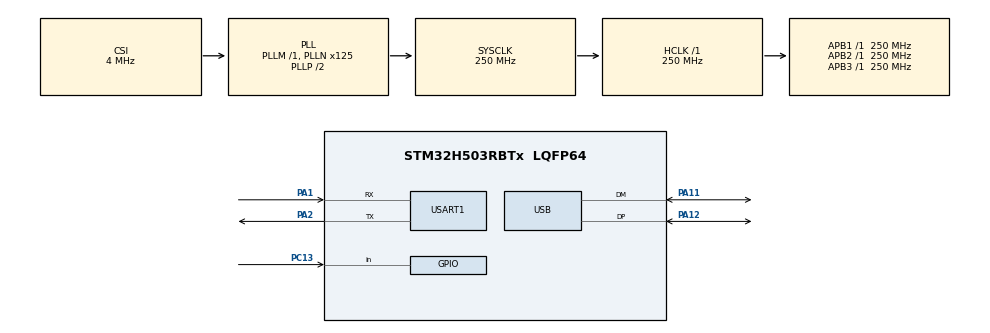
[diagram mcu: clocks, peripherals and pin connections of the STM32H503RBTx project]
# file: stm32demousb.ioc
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BOOTPATH.BootPathName=LEGACY
BOOTPATH.UserSelectedBootPath=LEGACY
Mcu.Family=STM32H5
Mcu.Name=STM32H503RBTx
Mcu.Package=LQFP64
NVIC.PriorityGroup=NVIC_PRIORITYGROUP_4
NVIC.USB_DRD_FS_IRQn=true\:0\:0\:false\:false\:true\:true\:true\:true
PA1.Mode=Asynchronous
PA1.Signal=USART1_RX
PA11.Mode=Device
PA11.Signal=USB_DM
PA12.Mode=Device
PA12.Signal=USB_DP
PA2.Mode=Asynchronous
PA2.Signal=USART1_TX
PC13.Signal=GPIO_Input
ProjectManager.HeapSize=0x600
ProjectManager.StackSize=0x800
ProjectManager.TargetToolchain=CMake
RCC.ADCFreq_Value=250000000
RCC.AHBFreq_Value=250000000
RCC.APB1Freq_Value=250000000
RCC.APB1TimFreq_Value=250000000
RCC.APB2Freq_Value=250000000
RCC.APB2TimFreq_Value=250000000
RCC.APB3Freq_Value=250000000
RCC.CSI_VALUE=4000000
RCC.CortexFreq_Value=250000000
RCC.EPOD_VALUE=4000000
RCC.HCLKFreq_Value=250000000
RCC.HSE_VALUE=25000000
RCC.HSI48_VALUE=48000000
RCC.HSI_VALUE=64000000
RCC.LSE_VALUE=32768
RCC.LSIRC_VALUE=32000
RCC.PLL2FRACN=0
RCC.PLLFRACN=0
RCC.PLLN=125
RCC.SYSCLKFreq_VALUE=250000000
RCC.SYSCLKSource=RCC_SYSCLKSOURCE_PLLCLK
RCC.USBFreq_Value=48000000
RCC.VCOOutputFreq_Value=500000000
USART1.VirtualMode-Asynchronous=VM_ASYNC
USB.VirtualMode=Device_Only
VP_BOOTPATH_VS_BOOTPATH.Mode=BP_Activate
VP_CORTEX_M33_NS_VS_Hclk.Mode=Hclk_Mode
VP_MEMORYMAP_VS_MEMORYMAP.Mode=CurAppReg
VP_PWR_VS_LPOM.Mode=PowerOptimisation
VP_PWR_VS_SECSignals.Mode=Security/Privilege
board=custom

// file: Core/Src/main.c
/* USER CODE BEGIN Header */
/**
  ******************************************************************************
  * @file           : main.c
  * @brief          : Main program body
  ******************************************************************************
  * @attention
  *
  * Copyright (c) 2026 STMicroelectronics.
  * All rights reserved.
  *
  * This software is licensed under terms that can be found in the LICENSE file
  * in the root directory of this software component.
  * If no LICENSE file comes with this software, it is provided AS-IS.
  *
  ******************************************************************************
  */
/* USER CODE END Header */
#include "main.h"

/* USER CODE BEGIN Includes */
#include "stm32h5xx_hal.h"
#include "usbd_core.h"
// #include "usbd_cdc.h"
// #include "usbd_cdc_if.h"
#include "usbd_customhid.h"
#include "usbd_customhid_if.h"
#include "usbd_desc.h"
#include "usbd_composite_builder.h"
/* USER CODE END Includes */

UART_HandleTypeDef huart1;

PCD_HandleTypeDef hpcd_USB_DRD_FS;

/* USER CODE BEGIN PV */
uint8_t CDC_EpAdd_Inst[3] = {CDC_IN_EP, CDC_OUT_EP, CDC_CMD_EP}; 	/* CDC Endpoint Addresses array */
// uint8_t HID_EpAdd_Inst = HID_EPIN_ADDR;								/* HID Endpoint Address array */
uint8_t CustomHID_EpAdress[2] = {CUSTOM_HID_EPIN_ADDR, CUSTOM_HID_EPOUT_ADDR};								/* HID Endpoint Address array */
USBD_HandleTypeDef hUsbDeviceFS;
uint8_t hid_report_buffer[SAMPLE_REPORT_SIZE];
uint8_t HID_InstID = 0, CDC_InstID = 0, CUSTOMHID_InstID = 0;
uint8_t Sample_State = 0;
/* USER CODE END PV */

void SystemClock_Config(void);
static void MX_GPIO_Init(void);
static void MX_USART1_UART_Init(void);

int main(void)
{

	/* USER CODE BEGIN 1 */
	hid_report_buffer[0] = ADC_REPORT_ID;   /* Buttons – first 3 bits [LSB] */
	hid_report_buffer[1] = 100; /* X axis 8 bits value signed */
	hid_report_buffer[3] = 255;   /* Wheel 8 bits value signed*/
	/* USER CODE END 1 */

	/* MCU Configuration--------------------------------------------------------*/

	/* Reset of all peripherals, Initializes the Flash interface and the Systick. */
	HAL_Init();

	/* Configure the system clock */
	SystemClock_Config();

	/* Initialize all configured peripherals */
	MX_GPIO_Init();
	MX_USART1_UART_Init();

	USBD_UsrLog("\r\n=== Welcome to stm32 custom-hid driver! ===");

	/* USER CODE BEGIN 2 */
	/* Initialize the USB Device Library */
	if (USBD_Init(&hUsbDeviceFS, &Class_Desc, 0) != USBD_OK)
		Error_Handler();

	/* Store HID Instance Class ID */
	CUSTOMHID_InstID = hUsbDeviceFS.classId;
	/* Register the HID Class */
#ifdef USE_USBD_COMPOSITE

	if (USBD_RegisterClassComposite(&hUsbDeviceFS, USBD_CUSTOM_HID_CLASS, CLASS_TYPE_CHID, CustomHID_EpAdress) != USBD_OK)
#else

	/* Add Supported Class */
	if (USBD_RegisterClass(&hUsbDeviceFS, &USBD_CUSTOM_HID) != USBD_OK)
#endif /* USE_USBD_COMPOSITE */
		Error_Handler();

	/* Store the HID Class */
	// CDC_InstID = hUsbDeviceFS.classId;
	/* Register CDC Class First Instance */
	// if(USBD_RegisterClassComposite(&hUsbDeviceFS, USBD_CDC_CLASS, CLASS_TYPE_CDC, CDC_EpAdd_Inst) != USBD_OK)
	//   Error_Handler();

#ifdef USE_USBD_COMPOSITE

	/* Add Custom HID Interface Class */
	if (USBD_CMPSIT_SetClassID(&hUsbDeviceFS, CLASS_TYPE_CHID, 0) != 0xFF)
		USBD_CUSTOM_HID_RegisterInterface(&hUsbDeviceFS, &USBD_CustomHID_fops);

	// /* Add CDC Interface Class */
	if (USBD_CMPSIT_SetClassID(&hUsbDeviceFS, CLASS_TYPE_CDC, 0) != 0xFF)
		USBD_CDC_RegisterInterface(&hUsbDeviceFS, &USBD_CDC_Template_fops);

#else
	/* Add Custom HID callbacks */
	USBD_CUSTOM_HID_RegisterInterface(&hUsbDeviceFS, &USBD_CustomHID_fops);

#endif /* USE_USBD_COMPOSITE */

	USBD_Start(&hUsbDeviceFS);
	/* USER CODE END 2 */

	// printf("run: file %s on line %d\r\n", __FILE__, __LINE__);
	for (int i = 1; i < SAMPLE_REPORT_SIZE; i++)
		hid_report_buffer[i] = i;

	/* Infinite loop */
	while (1) {
		// todo: use timer
		if (Sample_State == 1) {
			USBD_CUSTOM_HID_SendReport(&hUsbDeviceFS, hid_report_buffer, SAMPLE_REPORT_SIZE);
			HAL_Delay(100);
		}

	}
}

void SystemClock_Config(void)
{
	RCC_OscInitTypeDef RCC_OscInitStruct = {0};
	RCC_ClkInitTypeDef RCC_ClkInitStruct = {0};

	/** Configure the main internal regulator output voltage
	*/
	__HAL_PWR_VOLTAGESCALING_CONFIG(PWR_REGULATOR_VOLTAGE_SCALE0);

	while (!__HAL_PWR_GET_FLAG(PWR_FLAG_VOSRDY)) {}

	/** Initializes the RCC Oscillators according to the specified parameters
	* in the RCC_OscInitTypeDef structure.
	*/
	RCC_OscInitStruct.OscillatorType = RCC_OSCILLATORTYPE_HSI48 | RCC_OSCILLATORTYPE_CSI;
	RCC_OscInitStruct.HSI48State = RCC_HSI48_ON;
	RCC_OscInitStruct.CSIState = RCC_CSI_ON;
	RCC_OscInitStruct.CSICalibrationValue = RCC_CSICALIBRATION_DEFAULT;
	RCC_OscInitStruct.PLL.PLLState = RCC_PLL_ON;
	RCC_OscInitStruct.PLL.PLLSource = RCC_PLL1_SOURCE_CSI;
	RCC_OscInitStruct.PLL.PLLM = 1;
	RCC_OscInitStruct.PLL.PLLN = 125;
	RCC_OscInitStruct.PLL.PLLP = 2;
	RCC_OscInitStruct.PLL.PLLQ = 2;
	RCC_OscInitStruct.PLL.PLLR = 2;
	RCC_OscInitStruct.PLL.PLLRGE = RCC_PLL1_VCIRANGE_2;
	RCC_OscInitStruct.PLL.PLLVCOSEL = RCC_PLL1_VCORANGE_WIDE;
	RCC_OscInitStruct.PLL.PLLFRACN = 0;

	if (HAL_RCC_OscConfig(&RCC_OscInitStruct) != HAL_OK)
		Error_Handler();

	/** Initializes the CPU, AHB and APB buses clocks
	*/
	RCC_ClkInitStruct.ClockType = RCC_CLOCKTYPE_HCLK | RCC_CLOCKTYPE_SYSCLK
				      | RCC_CLOCKTYPE_PCLK1 | RCC_CLOCKTYPE_PCLK2
				      | RCC_CLOCKTYPE_PCLK3;
	RCC_ClkInitStruct.SYSCLKSource = RCC_SYSCLKSOURCE_PLLCLK;
	RCC_ClkInitStruct.AHBCLKDivider = RCC_SYSCLK_DIV1;
	RCC_ClkInitStruct.APB1CLKDivider = RCC_HCLK_DIV1;
	RCC_ClkInitStruct.APB2CLKDivider = RCC_HCLK_DIV1;
	RCC_ClkInitStruct.APB3CLKDivider = RCC_HCLK_DIV1;

	if (HAL_RCC_ClockConfig(&RCC_ClkInitStruct, FLASH_LATENCY_5) != HAL_OK)
		Error_Handler();

	/** Configure the programming delay
	*/
	__HAL_FLASH_SET_PROGRAM_DELAY(FLASH_PROGRAMMING_DELAY_2);
}

static void MX_USART1_UART_Init(void)
{

	huart1.Instance = USART1;
	huart1.Init.BaudRate = 115200;
	huart1.Init.WordLength = UART_WORDLENGTH_8B;
	huart1.Init.StopBits = UART_STOPBITS_1;
	huart1.Init.Parity = UART_PARITY_NONE;
	huart1.Init.Mode = UART_MODE_TX_RX;
	huart1.Init.HwFlowCtl = UART_HWCONTROL_NONE;
	huart1.Init.OverSampling = UART_OVERSAMPLING_16;
	huart1.Init.OneBitSampling = UART_ONE_BIT_SAMPLE_DISABLE;
	huart1.Init.ClockPrescaler = UART_PRESCALER_DIV1;
	huart1.AdvancedInit.AdvFeatureInit = UART_ADVFEATURE_NO_INIT;

	if (HAL_UART_Init(&huart1) != HAL_OK)
		Error_Handler();

	if (HAL_UARTEx_SetTxFifoThreshold(&huart1, UART_TXFIFO_THRESHOLD_1_8) != HAL_OK)
		Error_Handler();

	if (HAL_UARTEx_SetRxFifoThreshold(&huart1, UART_RXFIFO_THRESHOLD_1_8) != HAL_OK)
		Error_Handler();

	if (HAL_UARTEx_DisableFifoMode(&huart1) != HAL_OK)
		Error_Handler();

}

void MX_USB_PCD_Init(void)
{

	hpcd_USB_DRD_FS.Instance = USB_DRD_FS;
	hpcd_USB_DRD_FS.Init.dev_endpoints = 8;
	hpcd_USB_DRD_FS.Init.speed = USBD_FS_SPEED;
	hpcd_USB_DRD_FS.Init.phy_itface = PCD_PHY_EMBEDDED;
	hpcd_USB_DRD_FS.Init.Sof_enable = DISABLE;
	hpcd_USB_DRD_FS.Init.low_power_enable = DISABLE;
	hpcd_USB_DRD_FS.Init.lpm_enable = DISABLE;
	hpcd_USB_DRD_FS.Init.battery_charging_enable = DISABLE;
	hpcd_USB_DRD_FS.Init.vbus_sensing_enable = DISABLE;
	hpcd_USB_DRD_FS.Init.bulk_doublebuffer_enable = DISABLE;
	hpcd_USB_DRD_FS.Init.iso_singlebuffer_enable = DISABLE;

	if (HAL_PCD_Init(&hpcd_USB_DRD_FS) != HAL_OK)
		Error_Handler();

}

static void MX_GPIO_Init(void)
{
	GPIO_InitTypeDef GPIO_InitStruct = {0};

	/* GPIO Ports Clock Enable */
	__HAL_RCC_GPIOC_CLK_ENABLE();
	__HAL_RCC_GPIOA_CLK_ENABLE();

	/*Configure GPIO pin : PC13 */
	GPIO_InitStruct.Pin = GPIO_PIN_13;
	GPIO_InitStruct.Mode = GPIO_MODE_INPUT;
	GPIO_InitStruct.Pull = GPIO_NOPULL;
	HAL_GPIO_Init(GPIOC, &GPIO_InitStruct);

}

void Error_Handler(void)
{
	__disable_irq();
	while (1) {
	}
}
